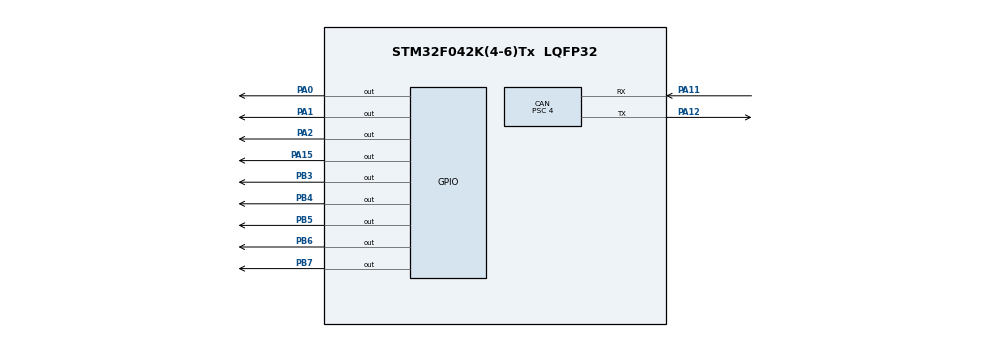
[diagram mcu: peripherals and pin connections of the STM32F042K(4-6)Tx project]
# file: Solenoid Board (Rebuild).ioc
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CAN.AWUM=ENABLE
CAN.BS1=CAN_BS1_11TQ
CAN.BS2=CAN_BS2_4TQ
CAN.CalculateTimeQuantum=500.0
CAN.Prescaler=4
CAN.SJW=CAN_SJW_4TQ
Mcu.Family=STM32F0
Mcu.Name=STM32F042K(4-6)Tx
Mcu.Package=LQFP32
NVIC.CEC_CAN_IRQn=true\:0\:0\:false\:false\:true\:true
PA0.Signal=GPIO_Output
PA1.Signal=GPIO_Output
PA11.Mode=Master
PA11.Signal=CAN_RX
PA12.Mode=Master
PA12.Signal=CAN_TX
PA13.Mode=Serial_Wire
PA13.Signal=SYS_SWDIO
PA14.Mode=Serial_Wire
PA14.Signal=SYS_SWCLK
PA15.Signal=GPIO_Output
PA2.Signal=GPIO_Output
PB3.Signal=GPIO_Output
PB4.Signal=GPIO_Output
PB5.Signal=GPIO_Output
PB6.Signal=GPIO_Output
PB7.Signal=GPIO_Output
ProjectManager.HeapSize=0x200
ProjectManager.StackSize=0x400
ProjectManager.TargetToolchain=TrueSTUDIO
board=custom

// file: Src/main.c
/* USER CODE BEGIN Header */
/**
  ******************************************************************************
  * @file           : main.c
  * @brief          : Main program body
  ******************************************************************************
  ** This notice applies to any and all portions of this file
  * that are not between comment pairs USER CODE BEGIN and
  * USER CODE END. Other portions of this file, whether
  * inserted by the user or by software development tools
  * are owned by their respective copyright owners.
  *
  * COPYRIGHT(c) 2019 STMicroelectronics
  *
  * Redistribution and use in source and binary forms, with or without modification,
  * are permitted provided that the following conditions are met:
  *   1. Redistributions of source code must retain the above copyright notice,
  *      this list of conditions and the following disclaimer.
  *   2. Redistributions in binary form must reproduce the above copyright notice,
  *      this list of conditions and the following disclaimer in the documentation
  *      and/or other materials provided with the distribution.
  *   3. Neither the name of STMicroelectronics nor the names of its contributors
  *      may be used to endorse or promote products derived from this software
  *      without specific prior written permission.
  *
  * THIS SOFTWARE IS PROVIDED BY THE COPYRIGHT HOLDERS AND CONTRIBUTORS "AS IS"
  * AND ANY EXPRESS OR IMPLIED WARRANTIES, INCLUDING, BUT NOT LIMITED TO, THE
  * IMPLIED WARRANTIES OF MERCHANTABILITY AND FITNESS FOR A PARTICULAR PURPOSE ARE
  * DISCLAIMED. IN NO EVENT SHALL THE COPYRIGHT HOLDER OR CONTRIBUTORS BE LIABLE
  * FOR ANY DIRECT, INDIRECT, INCIDENTAL, SPECIAL, EXEMPLARY, OR CONSEQUENTIAL
  * DAMAGES (INCLUDING, BUT NOT LIMITED TO, PROCUREMENT OF SUBSTITUTE GOODS OR
  * SERVICES; LOSS OF USE, DATA, OR PROFITS; OR BUSINESS INTERRUPTION) HOWEVER
  * CAUSED AND ON ANY THEORY OF LIABILITY, WHETHER IN CONTRACT, STRICT LIABILITY,
  * OR TORT (INCLUDING NEGLIGENCE OR OTHERWISE) ARISING IN ANY WAY OUT OF THE USE
  * OF THIS SOFTWARE, EVEN IF ADVISED OF THE POSSIBILITY OF SUCH DAMAGE.
  *
  ******************************************************************************
  */
/* USER CODE END Header */

#include "main.h"

/* USER CODE BEGIN PM */
static CanTxMsgTypeDef        TxMessage;
static CanRxMsgTypeDef        RxMessage;
unsigned char sol_byte = 0;
volatile int check_error = 0;
volatile int check_state = 0;
/* USER CODE END PM */

CAN_HandleTypeDef hcan;

void SystemClock_Config(void);
static void MX_GPIO_Init(void);
static void MX_CAN_Init(void);

/* USER CODE BEGIN 0 */
static void nano_wait(int t) {
    asm("       mov r0,%0\n"
        "repeat:\n"
        "       sub r0,#14\n"
        "       bgt repeat\n"
        : : "r"(t) : "r0", "cc");
}
/* USER CODE END 0 */

int main(void)
{

  /* MCU Configuration--------------------------------------------------------*/

  /* Reset of all peripherals, Initializes the Flash interface and the Systick. */
  HAL_Init();

  /* Configure the system clock */
  SystemClock_Config();

  /* Initialize all configured peripherals */
  MX_GPIO_Init();
  MX_CAN_Init();
  /* USER CODE BEGIN 2 */

  if (HAL_CAN_Receive_IT(&hcan, CAN_FIFO0) != HAL_OK)
  {
	  Error_Handler();
  }
  HAL_GPIO_WritePin(GPIOA, GPIO_PIN_15, GPIO_PIN_RESET);
  /* USER CODE END 2 */

  /* Infinite loop */
  while (1)
  {

    /* USER CODE BEGIN 3 */
	    check_error = HAL_CAN_GetError(&hcan);
		if(check_error == 0x8 || check_error == 0x10)
		{
			__HAL_CAN_RESET_HANDLE_STATE(&hcan);
			  if (HAL_CAN_Receive_IT(&hcan, CAN_FIFO0) != HAL_OK)
			  {
				  Error_Handler();
			  }
			  check_error = 0;
		}
  }
  /* USER CODE END 3 */
}

void SystemClock_Config(void)
{
  RCC_OscInitTypeDef RCC_OscInitStruct = {0};
  RCC_ClkInitTypeDef RCC_ClkInitStruct = {0};

  /**Initializes the CPU, AHB and APB busses clocks
  */
  RCC_OscInitStruct.OscillatorType = RCC_OSCILLATORTYPE_HSI;
  RCC_OscInitStruct.HSIState = RCC_HSI_ON;
  RCC_OscInitStruct.HSICalibrationValue = RCC_HSICALIBRATION_DEFAULT;
  RCC_OscInitStruct.PLL.PLLState = RCC_PLL_NONE;
  if (HAL_RCC_OscConfig(&RCC_OscInitStruct) != HAL_OK)
  {
    Error_Handler();
  }
  /**Initializes the CPU, AHB and APB busses clocks
  */
  RCC_ClkInitStruct.ClockType = RCC_CLOCKTYPE_HCLK|RCC_CLOCKTYPE_SYSCLK
                              |RCC_CLOCKTYPE_PCLK1;
  RCC_ClkInitStruct.SYSCLKSource = RCC_SYSCLKSOURCE_HSI;
  RCC_ClkInitStruct.AHBCLKDivider = RCC_SYSCLK_DIV1;
  RCC_ClkInitStruct.APB1CLKDivider = RCC_HCLK_DIV1;

  if (HAL_RCC_ClockConfig(&RCC_ClkInitStruct, FLASH_LATENCY_0) != HAL_OK)
  {
    Error_Handler();
  }
}

static void MX_CAN_Init(void)
{

  /* USER CODE BEGIN CAN_Init 0 */
	CAN_FilterConfTypeDef  sFilterConfig;
  /* USER CODE END CAN_Init 0 */

  hcan.Instance = CAN;
  hcan.Init.Prescaler = 4;
  hcan.Init.Mode = CAN_MODE_NORMAL;
  hcan.Init.SJW = CAN_SJW_4TQ;
  hcan.Init.BS1 = CAN_BS1_11TQ;
  hcan.Init.BS2 = CAN_BS2_4TQ;
  hcan.Init.TTCM = DISABLE;
  hcan.Init.ABOM = DISABLE;
  hcan.Init.AWUM = ENABLE;
  hcan.Init.NART = DISABLE;
  hcan.Init.RFLM = DISABLE;
  hcan.Init.TXFP = DISABLE;
  if (HAL_CAN_Init(&hcan) != HAL_OK)
  {
    Error_Handler();
  }
  /* USER CODE BEGIN CAN_Init 2 */
  hcan.pTxMsg = &TxMessage;
  hcan.pRxMsg = &RxMessage;

   /*##-2- Configure the CAN Filter ###########################################*/
  sFilterConfig.FilterNumber = 0;
  sFilterConfig.FilterMode = CAN_FILTERMODE_IDMASK;
  sFilterConfig.FilterScale = CAN_FILTERSCALE_32BIT;
  sFilterConfig.FilterIdHigh = 0x0000;
  sFilterConfig.FilterIdLow = 0x0000;
  sFilterConfig.FilterMaskIdHigh = 0x0000;
  sFilterConfig.FilterMaskIdLow = 0x0000;
  sFilterConfig.FilterFIFOAssignment = 0;
  sFilterConfig.FilterActivation = ENABLE;
  sFilterConfig.BankNumber = 14;

  if (HAL_CAN_ConfigFilter(&hcan, &sFilterConfig) != HAL_OK)
  {
      Error_Handler();
  }

  hcan.pTxMsg->StdId = 0x200;
  hcan.pTxMsg->ExtId = 0x01;
  hcan.pTxMsg->RTR = CAN_RTR_DATA;
  hcan.pTxMsg->IDE = CAN_ID_STD;
  hcan.pTxMsg->DLC = 1;
  hcan.pTxMsg->Data[0] = 0xFF;
  /* USER CODE END CAN_Init 2 */

}

static void MX_GPIO_Init(void)
{
  GPIO_InitTypeDef GPIO_InitStruct = {0};

  /* GPIO Ports Clock Enable */
  __HAL_RCC_GPIOA_CLK_ENABLE();
  __HAL_RCC_GPIOB_CLK_ENABLE();

  /*Configure GPIO pin Output Level */
  HAL_GPIO_WritePin(GPIOA, GPIO_PIN_0|GPIO_PIN_1|GPIO_PIN_2|GPIO_PIN_15, GPIO_PIN_RESET);

  /*Configure GPIO pin Output Level */
  HAL_GPIO_WritePin(GPIOB, GPIO_PIN_3|GPIO_PIN_4|GPIO_PIN_5|GPIO_PIN_6
                          |GPIO_PIN_7, GPIO_PIN_RESET);

  /*Configure GPIO pins : PA0 PA1 PA2 PA15 */
  GPIO_InitStruct.Pin = GPIO_PIN_0|GPIO_PIN_1|GPIO_PIN_2|GPIO_PIN_15;
  GPIO_InitStruct.Mode = GPIO_MODE_OUTPUT_PP;
  GPIO_InitStruct.Pull = GPIO_NOPULL;
  GPIO_InitStruct.Speed = GPIO_SPEED_FREQ_LOW;
  HAL_GPIO_Init(GPIOA, &GPIO_InitStruct);

  /*Configure GPIO pins : PB3 PB4 PB5 PB6
                           PB7 */
  GPIO_InitStruct.Pin = GPIO_PIN_3|GPIO_PIN_4|GPIO_PIN_5|GPIO_PIN_6
                          |GPIO_PIN_7;
  GPIO_InitStruct.Mode = GPIO_MODE_OUTPUT_PP;
  GPIO_InitStruct.Pull = GPIO_NOPULL;
  GPIO_InitStruct.Speed = GPIO_SPEED_FREQ_LOW;
  HAL_GPIO_Init(GPIOB, &GPIO_InitStruct);

}

/* USER CODE BEGIN 4 */
void HAL_CAN_RxCpltCallback(CAN_HandleTypeDef* hcan)
{
	HAL_GPIO_WritePin(GPIOA, GPIO_PIN_15, GPIO_PIN_SET);
	//If ID is correct and the amount of data being sent is four bytes, converts that data into PWM signals
	if((hcan->pRxMsg->StdId == 0x204))
	{
		sol_byte = hcan->pRxMsg->Data[7];
		/*
		if((sol_byte & 0x01) == ((sol_byte>>4) & 0x01))
		{
			//do nothing since this cant happen
		}
		else if(((sol_byte>>1) & 0x01) == ((sol_byte>>5) & 0x01))
		{
			//do nothing since this cant happen
		}
		else if(((sol_byte>>2) & 0x01) == ((sol_byte>>6) & 0x01))
		{
			//do nothing since this cant happen
		}
		else if(((sol_byte>>3) & 0x01) == ((sol_byte>>7) & 0x01))
		{
			//do nothing since this cant happen
		}
		*/
				HAL_GPIO_WritePin(GPIOB, GPIO_PIN_7, GPIO_PIN_RESET); //GPIO 0 RESET
				HAL_GPIO_WritePin(GPIOB, GPIO_PIN_6, GPIO_PIN_RESET); //GPIO 1 RESET
				HAL_GPIO_WritePin(GPIOB, GPIO_PIN_4, GPIO_PIN_RESET); //GPIO 2 RESET
				HAL_GPIO_WritePin(GPIOB, GPIO_PIN_3, GPIO_PIN_RESET); //GPIO 3 RESET
				HAL_GPIO_WritePin(GPIOB, GPIO_PIN_5, GPIO_PIN_RESET); //GPIO 4 RESET
				HAL_GPIO_WritePin(GPIOA, GPIO_PIN_0, GPIO_PIN_RESET); //GPIO 5 RESET
				HAL_GPIO_WritePin(GPIOA, GPIO_PIN_1, GPIO_PIN_RESET); //GPIO 6 RESET
				HAL_GPIO_WritePin(GPIOA, GPIO_PIN_2, GPIO_PIN_RESET); //GPIO 7 RESET
				if((sol_byte & 0x80) == 0x80)
				{
					HAL_GPIO_WritePin(GPIOB, GPIO_PIN_7, GPIO_PIN_SET); //GPIO 0 SET
				}
				if((sol_byte & 0x40) == 0x40)
				{
					HAL_GPIO_WritePin(GPIOB, GPIO_PIN_6, GPIO_PIN_SET); //GPIO 1 SET
				}
				if((sol_byte & 0x20) == 0x20)
				{
					HAL_GPIO_WritePin(GPIOB, GPIO_PIN_4, GPIO_PIN_SET); //GPIO 2 SET
				}
				if((sol_byte & 0x10) == 0x10)
				{
					HAL_GPIO_WritePin(GPIOB, GPIO_PIN_3, GPIO_PIN_SET); //GPIO 3 SET
				}
				if((sol_byte & 0x08) == 0x08)
				{
					HAL_GPIO_WritePin(GPIOB, GPIO_PIN_5, GPIO_PIN_SET); //GPIO 4 SET
				}
				if((sol_byte & 0x04) == 0x04)
				{
					HAL_GPIO_WritePin(GPIOA, GPIO_PIN_0, GPIO_PIN_SET); //GPIO 5 SET
				}
				if((sol_byte & 0x02) == 0x02)
				{
					HAL_GPIO_WritePin(GPIOA, GPIO_PIN_1, GPIO_PIN_SET); //GPIO 6 SET
				}
				if((sol_byte & 0x01) == 0x01)
				{
					HAL_GPIO_WritePin(GPIOA, GPIO_PIN_2, GPIO_PIN_SET); //GPIO 7 SET
				}

	}
  //necessary portion that restarts the CAN receiving
	if (HAL_CAN_Receive_IT(hcan, CAN_FIFO0) != HAL_OK)
	{
		Error_Handler();
	}
}
/* USER CODE END 4 */

void Error_Handler(void)
{
  /* USER CODE BEGIN Error_Handler_Debug */
  /* User can add his own implementation to report the HAL error return state */
	while(1)
	{
	    HAL_GPIO_TogglePin(GPIOA, GPIO_PIN_15);
	    nano_wait(10000000);
	}
  /* USER CODE END Error_Handler_Debug */
}

/************************ (C) COPYRIGHT STMicroelectronics *****END OF FILE****/
